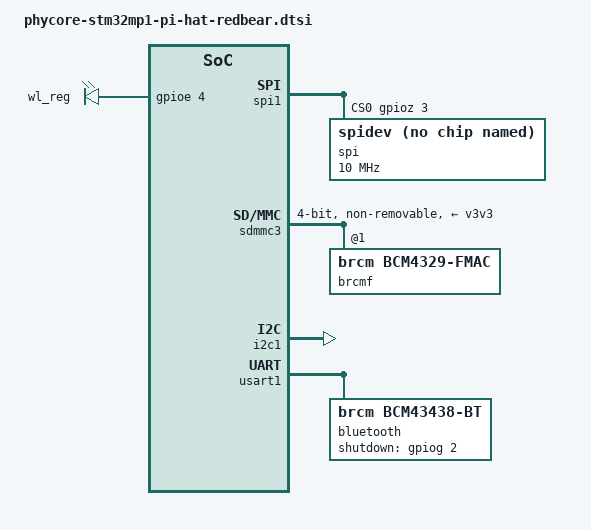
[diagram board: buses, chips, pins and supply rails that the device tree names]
// SPDX-License-Identifier: (GPL-2.0+ OR BSD-3-Clause)
/*
 * Copyright (C) PHYTEC GmbH 2019-2020 - All Rights Reserved
 * Author: Dom VOVARD <dom.vovard@linrt.com>.
 * Devicetree expansion for RedBear IoT pHAT Wifi Bluetooth module
 */


/ {
	gpio_led_wl: leds {
		compatible = "gpio-leds";
		status = "okay";

		wl_reg {
			gpios = <&gpioe 4 0>;
			linux,default-trigger = "default-on";
		};
	};
};

&spi1 {
        status = "okay";
	cs-gpios = <&gpioz 3 0>;
	spi@0 {
                compatible = "linux,spidev";
                spi-max-frequency = <10000000>;
                reg = <0>;
        };
};

&sdmmc3 {
	arm,primecell-periphid = <0x10153180>;
	pinctrl-names = "default", "opendrain", "sleep";
	pinctrl-0 = <&sdmmc3_b4_pins_a>;
	pinctrl-1 = <&sdmmc3_b4_od_pins_a>;
	pinctrl-2 = <&sdmmc3_b4_sleep_pins_a>;
	non-removable;
	st,neg-edge;
	bus-width = <4>;
	max-frequency = <10000000>;
	vmmc-supply = <&v3v3>;
	status = "okay";

	brcmf: bcrmf@1 {
		reg = <1>;
		compatible = "brcm,bcm4329-fmac";
	};
};

&i2c1 {
        status = "okay";
};

&usart1 {
        status = "okay";
	st,hw-flow-ctrl;

	bluetooth {
		shutdown-gpios = <&gpiog 2 GPIO_ACTIVE_HIGH>;
		compatible = "brcm,bcm43438-bt";
		max-speed = <3000000>;
	};
};
